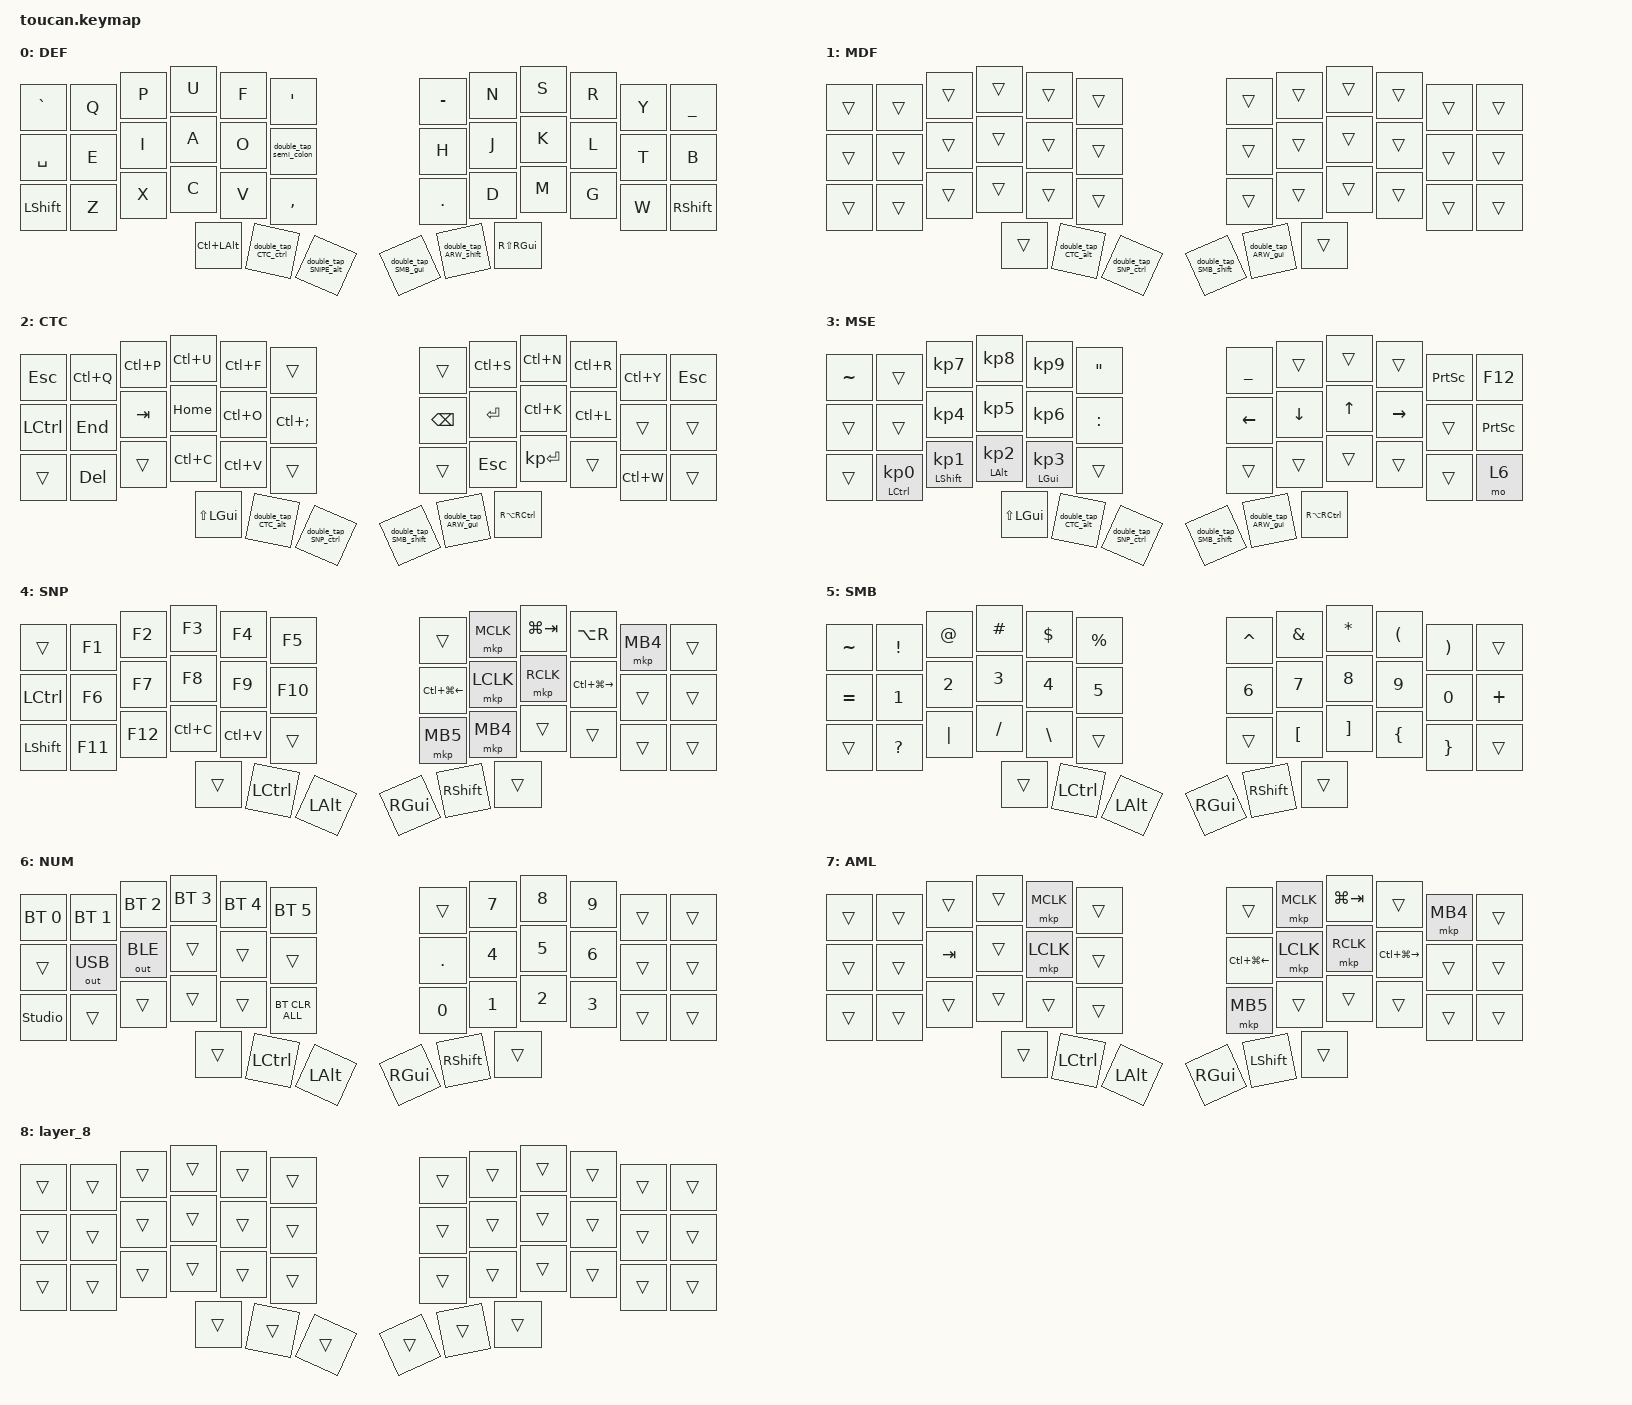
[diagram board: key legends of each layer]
#include <axis-constrain.dtsi>
#include <behaviors.dtsi>
#include <dt-bindings/zmk/bt.h>
#include <dt-bindings/zmk/keys.h>
#include <dt-bindings/zmk/outputs.h>
#include <dt-bindings/zmk/pointing.h>

// Layers mirror zmk-config-mtk64 (same indices) on the shared (3x6 + 3) x 2 keys.
// RA(RIGHT_CONTROL) stands for mtk64's RC(RIGHT_ALT): RC() collides with the matrix-transform macro.
// Trackpad setup: AML (Layer 7) while touching (except CTC/SMB); CTC (2) 1-finger scroll + 2-finger
// window/desktop shortcuts; SNP (4) cardinal slow pointer + half-speed 2-finger scroll;
// SMB (5) 1-finger horizontal MB5/MB4 (once) + vertical PG_DN/PG_UP (long-step repeat).

#define L2_SWIPE_DISTANCE 60
#define L5_HSWIPE_DISTANCE 150
#define L5_VPAGE_DISTANCE 300
#define GESTURE_IDLE_RESET_MS 500
#define AML_LAYER 7

&zip_axis_constrain {
    axis-lock-threshold = <10>;
    axis-tolerance-deg = <30>;
};

&is_touching_processor { bindings = <&mo AML_LAYER>; };

/ {
    input_processors {
        // CTC/SMB overrides skip is_touching_processor, so a touch released after switching into them
        // would leave AML on; this clears AML on either touch edge there without ever entering it.
        aml_off_on_touch: aml_off_on_touch {
            compatible = "zmk,input-processor-behaviors";
            #input-processor-cells = <0>;
            codes = <INPUT_BTN_TOUCH>;
            bindings = <&layer_off AML_LAYER>;
        };
        zip_l2_hswipe: zip_l2_hswipe {
            compatible = "zmk,input-processor-gesture-key";
            #input-processor-cells = <0>;
            event-code = <INPUT_REL_HWHEEL>;
            distance = <L2_SWIPE_DISTANCE>;
            fire-once;
            idle-reset-ms = <GESTURE_IDLE_RESET_MS>;
            bindings = <&kp LC(LG(RIGHT_ARROW))>, <&kp LC(LG(LEFT_ARROW))>;
        };

        zip_l2_vswipe: zip_l2_vswipe {
            compatible = "zmk,input-processor-gesture-key";
            #input-processor-cells = <0>;
            event-code = <INPUT_REL_WHEEL>;
            distance = <L2_SWIPE_DISTANCE>;
            fire-once;
            idle-reset-ms = <GESTURE_IDLE_RESET_MS>;
            bindings = <&kp LG(TAB)>, <&kp LG(TAB)>;
        };

        zip_l5_axis_constrain: zip_l5_axis_constrain {
            compatible = "zmk,input-processor-axis-constrain";
            #input-processor-cells = <0>;
            axis-lock-threshold = <10>;
            axis-tolerance-deg = <30>;
            track-remainders;
        };

        zip_l5_hswipe: zip_l5_hswipe {
            compatible = "zmk,input-processor-gesture-key";
            #input-processor-cells = <0>;
            event-code = <INPUT_REL_X>;
            distance = <L5_HSWIPE_DISTANCE>;
            fire-once;
            idle-reset-ms = <GESTURE_IDLE_RESET_MS>;
            bindings = <&mkp MB5>, <&mkp MB4>;
        };

        zip_l5_vpage: zip_l5_vpage {
            compatible = "zmk,input-processor-gesture-key";
            #input-processor-cells = <0>;
            event-code = <INPUT_REL_Y>;
            distance = <L5_VPAGE_DISTANCE>;
            idle-reset-ms = <GESTURE_IDLE_RESET_MS>;
            bindings = <&kp PG_DN>, <&kp PG_UP>;
        };
    };
};

&trackpad_listener {
    input-processors =
        <&zip_xy_scaler 100 100>,
        <&zip_scroll_scaler 1 20>,
        <&is_touching_processor>,
        <&swipe_button_mapper>;

    // Place 2-finger gesture mappers before zip_xy_to_scroll_mapper so 1-finger scroll is untouched.

    scroller {
        layers = <2>;
        input-processors =
            <&zip_l2_hswipe>,
            <&zip_l2_vswipe>,
            <&zip_xy_to_scroll_mapper>,
            <&zip_scroll_scaler 1 20>,
            <&zip_scroll_transform INPUT_TRANSFORM_X_INVERT>,
            <&swipe_button_mapper>,
            <&aml_off_on_touch>;
    };

    page_nav {
        layers = <5>;
        input-processors =
            <&zip_l5_axis_constrain>,
            <&zip_l5_hswipe>,
            <&zip_l5_vpage>,
            <&zip_scroll_scaler 1 20>,
            <&swipe_button_mapper>,
            <&aml_off_on_touch>;
    };

    // process-next keeps AML and 3-finger swipe working on the SNP layer; halves 2-finger scroll.

    cardinal_snipe {
        layers = <4>;
        input-processors =
            <&zip_axis_constrain>,
            <&zip_xy_scaler 1 5>,
            <&zip_scroll_scaler 1 2>;

        process-next;
    };
};

/ {
    behaviors {
        layer_off: layer_off {
            compatible = "zmk,behavior-layer-off";
            #binding-cells = <1>;
            display-name = "Layer Off";
        };

        double_tap_semi_colon: double_tap_semi_colon {
            compatible = "zmk,behavior-tap-dance";
            #binding-cells = <0>;
            bindings = <&kp SEMICOLON>, <&kp COLON>;
        };

        // The same key (Press the modifier key on the layer after moving)

        double_tap_CTC_ctrl: double_tap_CTC_ctrl {
            compatible = "zmk,behavior-tap-dance";
            #binding-cells = <0>;
            bindings = <&mo 2>, <&CTC_ctrl>;
        };

        double_tap_ARW_shift: double_tap_ARW_shift {
            compatible = "zmk,behavior-tap-dance";
            #binding-cells = <0>;
            bindings = <&mo 3>, <&ARW_shift>;
        };

        double_tap_SNIPE_alt: double_tap_SNIPE_alt {
            compatible = "zmk,behavior-tap-dance";
            #binding-cells = <0>;
            bindings = <&mo 4>, <&SNP_alt>;
        };

        double_tap_SMB_gui: double_tap_SMB_gui {
            compatible = "zmk,behavior-tap-dance";
            #binding-cells = <0>;
            bindings = <&mo 5>, <&SMB_gui>;
        };

        // The same finger (Press the modifier key on the same hand after moving the layer)

        double_tap_SNP_ctrl: double_tap_SNP_ctrl {
            compatible = "zmk,behavior-tap-dance";
            #binding-cells = <0>;
            bindings = <&kp LEFT_ALT>, <&SNP_ctrl>;
        };

        double_tap_SMB_shift: double_tap_SMB_shift {
            compatible = "zmk,behavior-tap-dance";
            #binding-cells = <0>;
            bindings = <&kp RIGHT_GUI>, <&SMB_shift>;
        };

        double_tap_CTC_alt: double_tap_CTC_alt {
            compatible = "zmk,behavior-tap-dance";
            #binding-cells = <0>;
            bindings = <&kp LCTRL>, <&CTC_alt>;
        };

        double_tap_ARW_gui: double_tap_ARW_gui {
            compatible = "zmk,behavior-tap-dance";
            #binding-cells = <0>;
            bindings = <&kp RIGHT_SHIFT>, <&ARW_gui>;
        };
    };
};

/ {
    combos {
        compatible = "zmk,combos";

        muhenkan {
            bindings = <&kp INT_MUHENKAN>;
            key-positions = <16 17>;
        };

        henkan {
            bindings = <&kp INT_HENKAN>;
            key-positions = <18 19>;
        };

        ctrl_shift {
            bindings = <&kp LC(RIGHT_SHIFT)>;
            key-positions = <37 40>;
        };

        ctrl_gui {
            bindings = <&kp LC(RIGHT_GUI)>;
            key-positions = <37 39>;
        };

        alt_gui {
            bindings = <&kp LA(RIGHT_GUI)>;
            key-positions = <38 39>;
        };

        alt_shift {
            bindings = <&kp LA(RIGHT_SHIFT)>;
            key-positions = <38 40>;
        };
    };

    macros {
        CTC_ctrl: CTC_ctrl {
            compatible = "zmk,behavior-macro";
            #binding-cells = <0>;
            bindings =
                <&macro_press>,
                <&mo 2 &kp LEFT_CONTROL>,
                <&macro_pause_for_release>,
                <&macro_release>,
                <&mo 2 &kp LEFT_CONTROL>;
        };

        ARW_shift: ARW_shift {
            compatible = "zmk,behavior-macro";
            #binding-cells = <0>;
            bindings =
                <&macro_press>,
                <&mo 3 &kp RIGHT_SHIFT>,
                <&macro_pause_for_release>,
                <&macro_release>,
                <&mo 3 &kp RIGHT_SHIFT>;
        };

        SNP_alt: SNP_alt {
            compatible = "zmk,behavior-macro";
            #binding-cells = <0>;
            bindings =
                <&macro_press>,
                <&mo 4 &kp LEFT_ALT>,
                <&macro_pause_for_release>,
                <&macro_release>,
                <&mo 4 &kp LEFT_ALT>;
        };

        SMB_gui: SMB_gui {
            compatible = "zmk,behavior-macro";
            #binding-cells = <0>;
            bindings =
                <&macro_press>,
                <&mo 5 &kp RIGHT_GUI>,
                <&macro_pause_for_release>,
                <&macro_release>,
                <&mo 5 &kp RIGHT_GUI>;
        };

        SNP_ctrl: SNP_ctrl {
            compatible = "zmk,behavior-macro";
            #binding-cells = <0>;
            bindings =
                <&macro_press>,
                <&mo 4 &kp LEFT_CONTROL>,
                <&macro_pause_for_release>,
                <&macro_release>,
                <&mo 4 &kp LEFT_CONTROL>;
        };

        SMB_shift: SMB_shift {
            compatible = "zmk,behavior-macro";
            #binding-cells = <0>;
            bindings =
                <&macro_press>,
                <&mo 5 &kp RIGHT_SHIFT>,
                <&macro_pause_for_release>,
                <&macro_release>,
                <&mo 5 &kp RIGHT_SHIFT>;
        };

        CTC_alt: CTC_alt {
            compatible = "zmk,behavior-macro";
            #binding-cells = <0>;
            bindings =
                <&macro_press>,
                <&mo 2 &kp LEFT_ALT>,
                <&macro_pause_for_release>,
                <&macro_release>,
                <&mo 2 &kp LEFT_ALT>;
        };

        ARW_gui: ARW_gui {
            compatible = "zmk,behavior-macro";
            #binding-cells = <0>;
            bindings =
                <&macro_press>,
                <&mo 3 &kp RIGHT_GUI>,
                <&macro_pause_for_release>,
                <&macro_release>,
                <&mo 3 &kp RIGHT_GUI>;
        };
    };

    keymap {
        compatible = "zmk,keymap";

        default_layer {
            display-name = "DEF";
            bindings = <
&kp GRAVE       &kp Q  &kp P  &kp U             &kp F                 &kp SINGLE_QUOTE        &kp MINUS            &kp N                  &kp S              &kp R  &kp Y  &kp UNDERSCORE
&kp SPACE       &kp E  &kp I  &kp A             &kp O                 &double_tap_semi_colon  &kp H                &kp J                  &kp K              &kp L  &kp T  &kp B
&kp LEFT_SHIFT  &kp Z  &kp X  &kp C             &kp V                 &kp COMMA               &kp PERIOD           &kp D                  &kp M              &kp G  &kp W  &kp RIGHT_SHIFT
                              &kp LC(LEFT_ALT)  &double_tap_CTC_ctrl  &double_tap_SNIPE_alt   &double_tap_SMB_gui  &double_tap_ARW_shift  &kp RS(RIGHT_GUI)
            >;
        };

        modifiers {
            display-name = "MDF";
            bindings = <
&trans  &trans  &trans  &trans  &trans               &trans                &trans                 &trans               &trans  &trans  &trans  &trans
&trans  &trans  &trans  &trans  &trans               &trans                &trans                 &trans               &trans  &trans  &trans  &trans
&trans  &trans  &trans  &trans  &trans               &trans                &trans                 &trans               &trans  &trans  &trans  &trans
                        &trans  &double_tap_CTC_alt  &double_tap_SNP_ctrl  &double_tap_SMB_shift  &double_tap_ARW_gui  &trans
            >;
        };

        control_char {
            display-name = "CTC";
            bindings = <
&kp ESCAPE        &kp LC(Q)   &kp LC(P)  &kp LC(U)         &kp LC(F)            &trans                &trans                 &kp LC(S)            &kp LC(N)              &kp LC(R)  &kp LC(Y)  &kp ESCAPE
&kp LEFT_CONTROL  &kp END     &kp TAB    &kp HOME          &kp LC(O)            &kp LC(SEMICOLON)     &kp BACKSPACE          &kp ENTER            &kp LC(K)              &kp LC(L)  &trans     &trans
&trans            &kp DELETE  &trans     &kp LC(C)         &kp LC(V)            &trans                &trans                 &kp ESCAPE           &kp KP_ENTER           &trans     &kp LC(W)  &trans
                                         &kp LS(LEFT_GUI)  &double_tap_CTC_alt  &double_tap_SNP_ctrl  &double_tap_SMB_shift  &double_tap_ARW_gui  &kp RA(RIGHT_CONTROL)
            >;
        };

        arrow {
            display-name = "MSE";
            bindings = <
&kp TILDE  &trans                        &kp KP_NUMBER_7             &kp KP_NUMBER_8           &kp KP_NUMBER_9           &kp DOUBLE_QUOTES     &kp UNDERSCORE         &trans               &trans                 &trans           &kp PRINTSCREEN  &kp F12
&trans     &trans                        &kp KP_NUMBER_4             &kp KP_NUMBER_5           &kp KP_NUMBER_6           &kp COLON             &kp LEFT_ARROW         &kp DOWN_ARROW       &kp UP_ARROW           &kp RIGHT_ARROW  &trans           &kp PRINTSCREEN
&trans     &mt LEFT_CONTROL KP_NUMBER_0  &mt LEFT_SHIFT KP_NUMBER_1  &mt LEFT_ALT KP_NUMBER_2  &mt LEFT_GUI KP_NUMBER_3  &trans                &trans                 &trans               &trans                 &trans           &trans           &mo 6
                                                                     &kp LS(LEFT_GUI)          &double_tap_CTC_alt       &double_tap_SNP_ctrl  &double_tap_SMB_shift  &double_tap_ARW_gui  &kp RA(RIGHT_CONTROL)
            >;
        };

        snipe {
            display-name = "SNP";
            bindings = <
&trans            &kp F1   &kp F2   &kp F3     &kp F4            &kp F5        &trans                  &mkp MCLK        &kp LG(TAB)  &kp LA(R)                &mkp MB4  &trans
&kp LEFT_CONTROL  &kp F6   &kp F7   &kp F8     &kp F9            &kp F10       &kp LC(LG(LEFT_ARROW))  &mkp LCLK        &mkp RCLK    &kp LC(LG(RIGHT_ARROW))  &trans    &trans
&kp LEFT_SHIFT    &kp F11  &kp F12  &kp LC(C)  &kp LC(V)         &trans        &mkp MB5                &mkp MB4         &trans       &trans                   &trans    &trans
                                    &trans     &kp LEFT_CONTROL  &kp LEFT_ALT  &kp RIGHT_GUI           &kp RIGHT_SHIFT  &trans
            >;
        };

        symbols {
            display-name = "SMB";
            bindings = <
&kp TILDE  &kp EXCLAMATION  &kp AT_SIGN   &kp HASH      &kp DOLLAR        &kp PERCENT   &kp CARET      &kp AMPERSAND     &kp ASTERISK       &kp LEFT_PARENTHESIS  &kp RIGHT_PARENTHESIS  &trans
&kp EQUAL  &kp NUMBER_1     &kp NUMBER_2  &kp NUMBER_3  &kp NUMBER_4      &kp NUMBER_5  &kp NUMBER_6   &kp NUMBER_7      &kp NUMBER_8       &kp NUMBER_9          &kp NUMBER_0           &kp PLUS
&trans     &kp QUESTION     &kp PIPE      &kp SLASH     &kp BACKSLASH     &trans        &trans         &kp LEFT_BRACKET  &kp RIGHT_BRACKET  &kp LEFT_BRACE        &kp RIGHT_BRACE        &trans
                                          &trans        &kp LEFT_CONTROL  &kp LEFT_ALT  &kp RIGHT_GUI  &kp RIGHT_SHIFT   &trans
            >;
        };

        numbers {
            display-name = "NUM";
            bindings = <
&bt BT_SEL 0    &bt BT_SEL 1  &bt BT_SEL 2  &bt BT_SEL 3  &bt BT_SEL 4      &bt BT_SEL 5    &trans         &kp NUMBER_7     &kp NUMBER_8  &kp NUMBER_9  &trans  &trans
&trans          &out OUT_USB  &out OUT_BLE  &trans        &trans            &trans          &kp PERIOD     &kp NUMBER_4     &kp NUMBER_5  &kp NUMBER_6  &trans  &trans
&studio_unlock  &trans        &trans        &trans        &trans            &bt BT_CLR_ALL  &kp NUMBER_0   &kp NUMBER_1     &kp NUMBER_2  &kp NUMBER_3  &trans  &trans
                                            &trans        &kp LEFT_CONTROL  &kp LEFT_ALT    &kp RIGHT_GUI  &kp RIGHT_SHIFT  &trans
            >;
        };

        automouse {
            display-name = "AML";
            bindings = <
&trans  &trans  &trans   &trans  &mkp MCLK         &trans        &trans                  &mkp MCLK       &kp LG(TAB)  &trans                   &mkp MB4  &trans
&trans  &trans  &kp TAB  &trans  &mkp LCLK         &trans        &kp LC(LG(LEFT_ARROW))  &mkp LCLK       &mkp RCLK    &kp LC(LG(RIGHT_ARROW))  &trans    &trans
&trans  &trans  &trans   &trans  &trans            &trans        &mkp MB5                &trans          &trans       &trans                   &trans    &trans
                         &trans  &kp LEFT_CONTROL  &kp LEFT_ALT  &kp RIGHT_GUI           &kp LEFT_SHIFT  &trans
            >;
        };

        layer_8 {
            bindings = <
&trans  &trans  &trans  &trans  &trans  &trans  &trans  &trans  &trans  &trans  &trans  &trans
&trans  &trans  &trans  &trans  &trans  &trans  &trans  &trans  &trans  &trans  &trans  &trans
&trans  &trans  &trans  &trans  &trans  &trans  &trans  &trans  &trans  &trans  &trans  &trans
                        &trans  &trans  &trans  &trans  &trans  &trans
            >;
        };

        extra_2 { status = "reserved"; };

        extra_3 { status = "reserved"; };
    };
};
